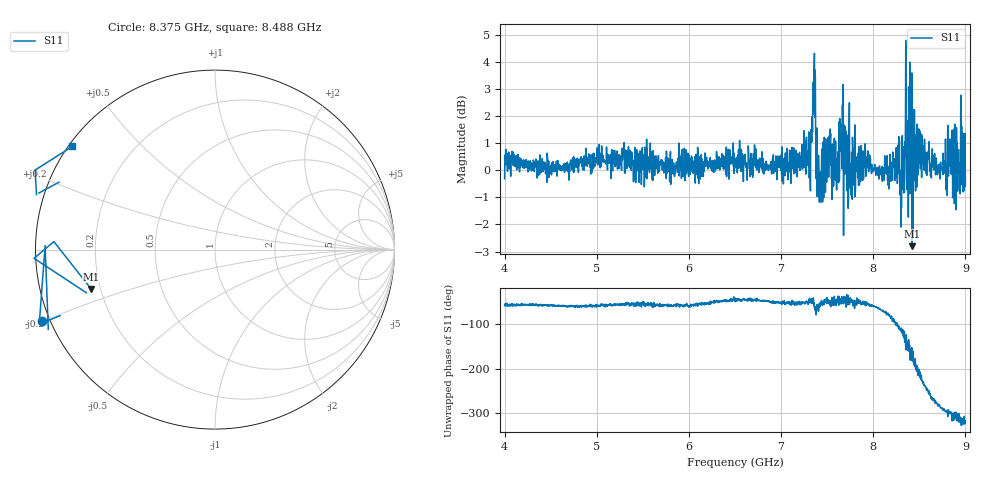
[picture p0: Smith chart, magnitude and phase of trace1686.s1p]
! Created with skrf 1.8.0 (http://scikit-rf.org).
# Hz S RI R 50.0
!freq ReS11 ImS11
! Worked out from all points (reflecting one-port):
!   1601 points, 4 GHz to 9 GHz, reference 50 ohm
!   lowest |S11| = -2.8 dB at 8.422 GHz (marker M1), VSWR 6.26, Z = 8.18 - j7.54 ohm
!   phase of S11 starts at -58 deg and turns -259 deg over the sweep
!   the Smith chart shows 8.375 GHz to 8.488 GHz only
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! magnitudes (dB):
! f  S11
! 4 GHz  -0.3
! 4.066 GHz  -0.2
! 4.625 GHz  0.0
! 5.25 GHz  0.2
! 5.875 GHz  0.1
! 6.5 GHz  0.1
! 7.125 GHz  0.3
! 7.294 GHz  0.4
! 7.316 GHz  -0.5
! 7.353 GHz  3.1
! 7.369 GHz  3.7
! 7.4 GHz  -0.5
! 7.416 GHz  -1.2
! 7.525 GHz  1.3
! 7.609 GHz  0.0
! 7.662 GHz  0.7
! 7.703 GHz  0.9
! 7.75 GHz  -0.5
! 8.259 GHz  0.3
! 8.312 GHz  1.1
! 8.334 GHz  -0.4
! 8.356 GHz  0.5
! 8.375 GHz  0.4
! 8.422 GHz  -2.8
! 8.516 GHz  0.7
! 8.731 GHz  0.3
! 8.972 GHz  0.4
! 9 GHz  -0.6
